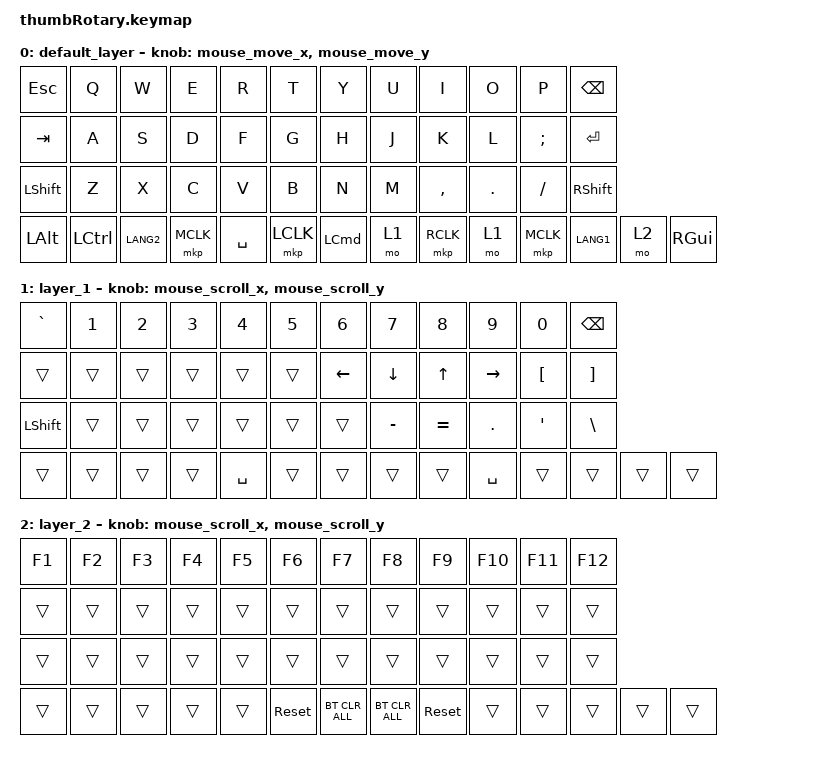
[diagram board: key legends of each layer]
#include <behaviors.dtsi>
#include <behaviors/mouse_move_tap.dtsi>
#include <dt-bindings/zmk/bt.h>
#include <dt-bindings/zmk/keys.h>
#include <dt-bindings/zmk/pointing.h>

// One mouse-pointer step (in HID units) per encoder tick.
#define THUMB_MOVE_STEP 24 
// One scroll-wheel step per encoder tick.
#define THUMB_SCRL_STEP 2 

/ {
    behaviors {
        mouse_scroll_x: mouse_scroll_x {
            compatible = "zmk,behavior-sensor-rotate";
            #sensor-binding-cells = <0>;
            bindings = <&kp RIGHT_ARROW>, <&kp LEFT_ARROW>;
            tap-ms = <20>;
        };

        mouse_scroll_y: mouse_scroll_y {
            compatible = "zmk,behavior-sensor-rotate";
            #sensor-binding-cells = <0>;
            bindings = <&kp UP_ARROW>, <&kp DOWN_ARROW>;
            tap-ms = <20>;
        };

        mouse_move_y: mouse_move_y {
            compatible = "zmk,behavior-sensor-rotate";
            #sensor-binding-cells = <0>;
            bindings = <&mmv_tap MOVE_Y(THUMB_MOVE_STEP)>, <&mmv_tap MOVE_Y(-THUMB_MOVE_STEP)>;
            tap-ms = <5>;
        };

        mouse_move_x: mouse_move_x {
            compatible = "zmk,behavior-sensor-rotate";
            #sensor-binding-cells = <0>;
            bindings = <&mmv_tap MOVE_X(-THUMB_MOVE_STEP)>, <&mmv_tap MOVE_X(THUMB_MOVE_STEP)>;
            tap-ms = <5>;
        };
    };

    keymap {
        compatible = "zmk,keymap";

        default_layer {
            bindings = <
&kp ESC         &kp Q             &kp W      &kp E      &kp R      &kp T      &kp Y             &kp U  &kp I      &kp O      &kp P          &kp BACKSPACE
&kp TAB         &kp A             &kp S      &kp D      &kp F      &kp G      &kp H             &kp J  &kp K      &kp L      &kp SEMICOLON  &kp ENTER
&kp LEFT_SHIFT  &kp Z             &kp X      &kp C      &kp V      &kp B      &kp N             &kp M  &kp COMMA  &kp DOT    &kp SLASH      &kp RIGHT_SHIFT
&kp LEFT_ALT    &kp LEFT_CONTROL  &kp LANG2  &mkp MCLK  &kp SPACE  &mkp LCLK  &kp LEFT_COMMAND  &mo 1  &mkp RCLK  &mo 1      &mkp MCLK      &kp LANG1        &mo 2  &kp RIGHT_GUI
            >;

            sensor-bindings = <&mouse_move_x>, <&mouse_move_y>;
        };

        layer_1 {
            bindings = <
&kp GRAVE       &kp NUMBER_1  &kp NUMBER_2    &kp NUMBER_3    &kp NUMBER_4     &kp N5  &kp NUMBER_6   &kp N7         &kp N8        &kp N9          &kp N0            &kp BACKSPACE
&trans          &trans        &trans          &trans          &trans           &trans  &kp LEFT_ARROW &kp DOWN_ARROW &kp UP_ARROW  &kp RIGHT_ARROW &kp LEFT_BRACKET  &kp RIGHT_BRACKET
&kp LEFT_SHIFT  &trans        &trans          &trans          &trans           &trans  &trans         &kp MINUS      &kp EQUAL     &kp DOT         &kp SQT           &kp BACKSLASH
&trans          &trans        &trans          &trans          &kp SPACE        &trans  &trans         &trans         &trans        &kp SPACE       &trans            &trans           &trans  &trans
            >;

            sensor-bindings = <&mouse_scroll_x>, <&mouse_scroll_y>;
        };

        layer_2 {
            bindings = <
&kp F1  &kp F2  &kp F3  &kp F4  &kp F5  &kp F6      &kp F7          &kp F8          &kp F9      &kp F10  &kp F11  &kp F12
&trans  &trans  &trans  &trans  &trans  &trans      &trans          &trans          &trans      &trans   &trans   &trans
&trans  &trans  &trans  &trans  &trans  &trans      &trans          &trans          &trans      &trans   &trans   &trans
&trans  &trans  &trans  &trans  &trans  &sys_reset  &bt BT_CLR_ALL  &bt BT_CLR_ALL  &sys_reset  &trans   &trans   &trans   &trans  &trans
            >;

            sensor-bindings = <&mouse_scroll_x>, <&mouse_scroll_y>;
        };
    };
};
